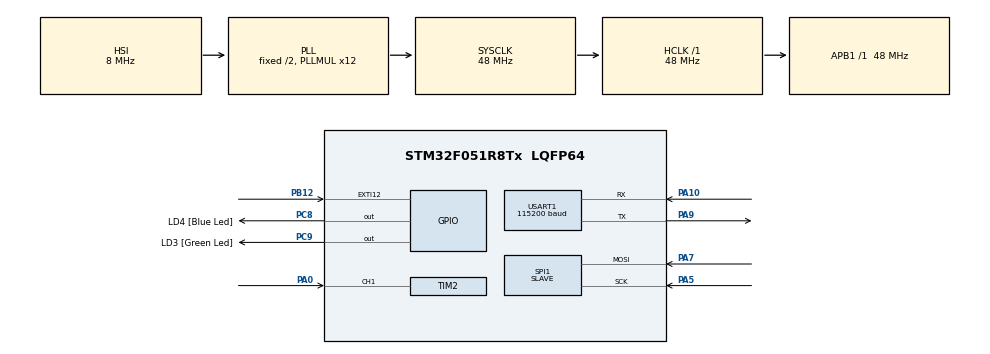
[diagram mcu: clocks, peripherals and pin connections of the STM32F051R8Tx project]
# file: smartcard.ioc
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Dma.Request0=USART1_RX
Dma.Request1=SPI1_RX
Dma.SPI1_RX.1.Direction=DMA_PERIPH_TO_MEMORY
Dma.SPI1_RX.1.Instance=DMA1_Channel2
Dma.SPI1_RX.1.MemDataAlignment=DMA_MDATAALIGN_BYTE
Dma.SPI1_RX.1.MemInc=DMA_MINC_ENABLE
Dma.SPI1_RX.1.Mode=DMA_CIRCULAR
Dma.SPI1_RX.1.PeriphDataAlignment=DMA_PDATAALIGN_BYTE
Dma.SPI1_RX.1.PeriphInc=DMA_PINC_DISABLE
Dma.SPI1_RX.1.Priority=DMA_PRIORITY_LOW
Dma.USART1_RX.0.Direction=DMA_PERIPH_TO_MEMORY
Dma.USART1_RX.0.Instance=DMA1_Channel3
Dma.USART1_RX.0.MemDataAlignment=DMA_MDATAALIGN_BYTE
Dma.USART1_RX.0.MemInc=DMA_MINC_ENABLE
Dma.USART1_RX.0.Mode=DMA_CIRCULAR
Dma.USART1_RX.0.PeriphDataAlignment=DMA_PDATAALIGN_BYTE
Dma.USART1_RX.0.PeriphInc=DMA_PINC_DISABLE
Dma.USART1_RX.0.Priority=DMA_PRIORITY_LOW
Mcu.Family=STM32F0
Mcu.Name=STM32F051R8Tx
Mcu.Package=LQFP64
NVIC.DMA1_Channel2_3_IRQn=true\:0\:0\:false\:false\:true\:false
NVIC.EXTI4_15_IRQn=true\:0\:0\:false\:false\:true\:true
NVIC.TIM2_IRQn=true\:0\:0\:false\:false\:true\:true
PA0.Signal=S_TIM2_CH1_ETR
PA10.Mode=Asynchronous
PA10.Signal=USART1_RX
PA13.GPIO_Label=SWDIO
PA13.Mode=Serial_Wire
PA13.Signal=SYS_SWDIO
PA14.GPIO_Label=SWCLK
PA14.Mode=Serial_Wire
PA14.Signal=SYS_SWCLK
PA5.GPIO_PuPd=GPIO_PULLUP
PA5.Mode=RX_Only_Simplex_Unidirect_Slave
PA5.Signal=SPI1_SCK
PA7.GPIO_PuPd=GPIO_PULLUP
PA7.Mode=RX_Only_Simplex_Unidirect_Slave
PA7.Signal=SPI1_MOSI
PA9.Mode=Asynchronous
PA9.Signal=USART1_TX
PB12.Signal=GPXTI12
PC8.GPIO_Label=LD4 [Blue Led]
PC8.Signal=GPIO_Output
PC9.GPIO_Label=LD3 [Green Led]
PC9.Signal=GPIO_Output
ProjectManager.HeapSize=0x200
ProjectManager.StackSize=0x400
ProjectManager.TargetToolchain=SW4STM32
RCC.AHBFreq_Value=48000000
RCC.APB1Freq_Value=48000000
RCC.APB1TimFreq_Value=48000000
RCC.HCLKFreq_Value=48000000
RCC.PLLMUL=RCC_PLL_MUL12
RCC.SYSCLKFreq_VALUE=48000000
RCC.SYSCLKSource=RCC_SYSCLKSOURCE_PLLCLK
SH.S_TIM2_CH1_ETR.0=TIM2_CH1,TriggerSource_TI1FP1
SPI1.CLKPolarity=SPI_POLARITY_HIGH
SPI1.DataSize=SPI_DATASIZE_8BIT
SPI1.Direction=SPI_DIRECTION_2LINES_RXONLY
SPI1.FirstBit=SPI_FIRSTBIT_MSB
SPI1.Mode=SPI_MODE_SLAVE
SPI1.VirtualType=VM_SLAVE
TIM2.AutoReloadPreload=TIM_AUTORELOAD_PRELOAD_ENABLE
TIM2.Period=4800
USART1.BaudRate=115200
USART1.Mode=MODE_RX
USART1.VirtualMode-Asynchronous=VM_ASYNC
USART1.WordLength=WORDLENGTH_9B
VP_TIM2_VS_ControllerModeClock.Mode=Clock Mode
board=STM32F0DISCOVERY

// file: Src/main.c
/**
  ******************************************************************************
  * @file           : main.c
  * @brief          : Main program body
  ******************************************************************************
  ** This notice applies to any and all portions of this file
  * that are not between comment pairs USER CODE BEGIN and
  * USER CODE END. Other portions of this file, whether
  * inserted by the user or by software development tools
  * are owned by their respective copyright owners.
  *
  * COPYRIGHT(c) 2018 STMicroelectronics
  *
  * Redistribution and use in source and binary forms, with or without modification,
  * are permitted provided that the following conditions are met:
  *   1. Redistributions of source code must retain the above copyright notice,
  *      this list of conditions and the following disclaimer.
  *   2. Redistributions in binary form must reproduce the above copyright notice,
  *      this list of conditions and the following disclaimer in the documentation
  *      and/or other materials provided with the distribution.
  *   3. Neither the name of STMicroelectronics nor the names of its contributors
  *      may be used to endorse or promote products derived from this software
  *      without specific prior written permission.
  *
  * THIS SOFTWARE IS PROVIDED BY THE COPYRIGHT HOLDERS AND CONTRIBUTORS "AS IS"
  * AND ANY EXPRESS OR IMPLIED WARRANTIES, INCLUDING, BUT NOT LIMITED TO, THE
  * IMPLIED WARRANTIES OF MERCHANTABILITY AND FITNESS FOR A PARTICULAR PURPOSE ARE
  * DISCLAIMED. IN NO EVENT SHALL THE COPYRIGHT HOLDER OR CONTRIBUTORS BE LIABLE
  * FOR ANY DIRECT, INDIRECT, INCIDENTAL, SPECIAL, EXEMPLARY, OR CONSEQUENTIAL
  * DAMAGES (INCLUDING, BUT NOT LIMITED TO, PROCUREMENT OF SUBSTITUTE GOODS OR
  * SERVICES; LOSS OF USE, DATA, OR PROFITS; OR BUSINESS INTERRUPTION) HOWEVER
  * CAUSED AND ON ANY THEORY OF LIABILITY, WHETHER IN CONTRACT, STRICT LIABILITY,
  * OR TORT (INCLUDING NEGLIGENCE OR OTHERWISE) ARISING IN ANY WAY OUT OF THE USE
  * OF THIS SOFTWARE, EVEN IF ADVISED OF THE POSSIBILITY OF SUCH DAMAGE.
  *
  ******************************************************************************
  */
#include "main.h"
#include "stm32f0xx_hal.h"

SPI_HandleTypeDef hspi1;
DMA_HandleTypeDef hdma_spi1_rx;

TIM_HandleTypeDef htim2;

UART_HandleTypeDef huart1;
DMA_HandleTypeDef hdma_usart1_rx;

/* USER CODE BEGIN PV */

extern uint8_t datatest[2];
extern uint8_t dataout[50];
uint32_t input_capture;
uint32_t count;
/* Private variables ---------------------------------------------------------*/
int __io_putchar(int ch)
{
	uint8_t c[1];
 	 c[0] = ch & 0x00FF;
 	 HAL_UART_Transmit(&huart1, &*c, 1, 10);
 	 return ch;
}

int _write(int file,char *ptr, int len)
{
 int DataIdx;
 for(DataIdx= 0; DataIdx< len; DataIdx++)
 {
 __io_putchar(*ptr++);
 }
return len;
}

void HAL_SPI_RxCpltCallback(SPI_HandleTypeDef *hspi)
{
}

/* USER CODE END PV */

void SystemClock_Config(void);
static void MX_GPIO_Init(void);
static void MX_DMA_Init(void);
static void MX_TIM2_Init(void);
static void MX_USART1_UART_Init(void);
static void MX_SPI1_Init(void);

/* USER CODE BEGIN PFP */
/* Private function prototypes -----------------------------------------------*/

/* USER CODE END PFP */

/* USER CODE BEGIN 0 */
void HAL_TIM_PeriodElapsedCallback(TIM_HandleTypeDef *htim)
{
	if (htim->Instance==TIM2)
	{
//		input_capture = __HAL_TIM_GET_COMPARE(&htim2, TIM_CHANNEL_2);
//		__HAL_TIM_SET_COUNTER(&htim2, 0);
		HAL_GPIO_TogglePin(GPIOC,GPIO_PIN_9);
	}
}
/* USER CODE END 0 */

int main(void)
{
  /* USER CODE BEGIN 1 */
	uint16_t i,j;
  /* USER CODE END 1 */

  /* MCU Configuration----------------------------------------------------------*/

  /* Reset of all peripherals, Initializes the Flash interface and the Systick. */
  HAL_Init();

  /* Configure the system clock */
  SystemClock_Config();

  /* Initialize all configured peripherals */
  MX_GPIO_Init();
  MX_DMA_Init();
  MX_TIM2_Init();
  MX_USART1_UART_Init();
  MX_SPI1_Init();
  /* USER CODE BEGIN 2 */
//  HAL_TIM_Base_Start_IT(&htim2);
//  HAL_UART_Receive_DMA(&huart1,datatest,16);
//  HAL_USART_Transmit_DMA(&husart1,datatest,255);
//  HAL_SPI_Receive_DMA(&hspi1,datatest,1);
//  	HAL_TIM_IC_Start_IT(&htim2,TIM_CHANNEL_2);
//  	HAL_TIM_IC_Start_IT(&htim2,TIM_CHANNEL_2);
//  HAL_SPI_Receive_IT(&hspi1,datatest,255);
//  HAL_TIM_Base_Start(&htim2);
  HAL_TIM_Base_Start_IT(&htim2);
  /* USER CODE END 2 */

  /* Infinite loop */
  /* USER CODE BEGIN WHILE */
  j=0;
  i=0;
  while (1)
  {
  /* USER CODE END WHILE */

  /* USER CODE BEGIN 3 */
	  count = __HAL_TIM_GET_COUNTER(&htim2);
//	  printf("Hello\r\n");
//	  HAL_GPIO_TogglePin(GPIOC,GPIO_PIN_9);
//	  HAL_Delay(100);
  }
  /* USER CODE END 3 */

}

void SystemClock_Config(void)
{

  RCC_OscInitTypeDef RCC_OscInitStruct;
  RCC_ClkInitTypeDef RCC_ClkInitStruct;
  RCC_PeriphCLKInitTypeDef PeriphClkInit;

    /**Initializes the CPU, AHB and APB busses clocks
    */
  RCC_OscInitStruct.OscillatorType = RCC_OSCILLATORTYPE_HSI;
  RCC_OscInitStruct.HSIState = RCC_HSI_ON;
  RCC_OscInitStruct.HSICalibrationValue = 16;
  RCC_OscInitStruct.PLL.PLLState = RCC_PLL_ON;
  RCC_OscInitStruct.PLL.PLLSource = RCC_PLLSOURCE_HSI;
  RCC_OscInitStruct.PLL.PLLMUL = RCC_PLL_MUL12;
  RCC_OscInitStruct.PLL.PREDIV = RCC_PREDIV_DIV1;
  if (HAL_RCC_OscConfig(&RCC_OscInitStruct) != HAL_OK)
  {
    _Error_Handler(__FILE__, __LINE__);
  }

    /**Initializes the CPU, AHB and APB busses clocks
    */
  RCC_ClkInitStruct.ClockType = RCC_CLOCKTYPE_HCLK|RCC_CLOCKTYPE_SYSCLK
                              |RCC_CLOCKTYPE_PCLK1;
  RCC_ClkInitStruct.SYSCLKSource = RCC_SYSCLKSOURCE_PLLCLK;
  RCC_ClkInitStruct.AHBCLKDivider = RCC_SYSCLK_DIV1;
  RCC_ClkInitStruct.APB1CLKDivider = RCC_HCLK_DIV1;

  if (HAL_RCC_ClockConfig(&RCC_ClkInitStruct, FLASH_LATENCY_1) != HAL_OK)
  {
    _Error_Handler(__FILE__, __LINE__);
  }

  PeriphClkInit.PeriphClockSelection = RCC_PERIPHCLK_USART1;
  PeriphClkInit.Usart1ClockSelection = RCC_USART1CLKSOURCE_PCLK1;
  if (HAL_RCCEx_PeriphCLKConfig(&PeriphClkInit) != HAL_OK)
  {
    _Error_Handler(__FILE__, __LINE__);
  }

    /**Configure the Systick interrupt time
    */
  HAL_SYSTICK_Config(HAL_RCC_GetHCLKFreq()/1000);

    /**Configure the Systick
    */
  HAL_SYSTICK_CLKSourceConfig(SYSTICK_CLKSOURCE_HCLK);

  /* SysTick_IRQn interrupt configuration */
  HAL_NVIC_SetPriority(SysTick_IRQn, 0, 0);
}

/* SPI1 init function */
static void MX_SPI1_Init(void)
{

  /* SPI1 parameter configuration*/
  hspi1.Instance = SPI1;
  hspi1.Init.Mode = SPI_MODE_SLAVE;
  hspi1.Init.Direction = SPI_DIRECTION_2LINES_RXONLY;
  hspi1.Init.DataSize = SPI_DATASIZE_8BIT;
  hspi1.Init.CLKPolarity = SPI_POLARITY_HIGH;
  hspi1.Init.CLKPhase = SPI_PHASE_1EDGE;
  hspi1.Init.NSS = SPI_NSS_SOFT;
  hspi1.Init.FirstBit = SPI_FIRSTBIT_MSB;
  hspi1.Init.TIMode = SPI_TIMODE_DISABLE;
  hspi1.Init.CRCCalculation = SPI_CRCCALCULATION_DISABLE;
  hspi1.Init.CRCPolynomial = 7;
  hspi1.Init.CRCLength = SPI_CRC_LENGTH_DATASIZE;
  hspi1.Init.NSSPMode = SPI_NSS_PULSE_DISABLE;
  if (HAL_SPI_Init(&hspi1) != HAL_OK)
  {
    _Error_Handler(__FILE__, __LINE__);
  }

}

/* TIM2 init function */
static void MX_TIM2_Init(void)
{

  TIM_SlaveConfigTypeDef sSlaveConfig;
  TIM_MasterConfigTypeDef sMasterConfig;

  htim2.Instance = TIM2;
  htim2.Init.Prescaler = 0;
  htim2.Init.CounterMode = TIM_COUNTERMODE_UP;
  htim2.Init.Period = 4800;
  htim2.Init.ClockDivision = TIM_CLOCKDIVISION_DIV1;
  htim2.Init.AutoReloadPreload = TIM_AUTORELOAD_PRELOAD_ENABLE;
  if (HAL_TIM_Base_Init(&htim2) != HAL_OK)
  {
    _Error_Handler(__FILE__, __LINE__);
  }

  sSlaveConfig.SlaveMode = TIM_SLAVEMODE_EXTERNAL1;
  sSlaveConfig.InputTrigger = TIM_TS_TI1FP1;
  sSlaveConfig.TriggerPolarity = TIM_TRIGGERPOLARITY_RISING;
  sSlaveConfig.TriggerFilter = 0;
  if (HAL_TIM_SlaveConfigSynchronization(&htim2, &sSlaveConfig) != HAL_OK)
  {
    _Error_Handler(__FILE__, __LINE__);
  }

  sMasterConfig.MasterOutputTrigger = TIM_TRGO_RESET;
  sMasterConfig.MasterSlaveMode = TIM_MASTERSLAVEMODE_DISABLE;
  if (HAL_TIMEx_MasterConfigSynchronization(&htim2, &sMasterConfig) != HAL_OK)
  {
    _Error_Handler(__FILE__, __LINE__);
  }

}

/* USART1 init function */
static void MX_USART1_UART_Init(void)
{

  huart1.Instance = USART1;
  huart1.Init.BaudRate = 115200;
  huart1.Init.WordLength = UART_WORDLENGTH_9B;
  huart1.Init.StopBits = UART_STOPBITS_1;
  huart1.Init.Parity = UART_PARITY_NONE;
  huart1.Init.Mode = UART_MODE_RX;
  huart1.Init.HwFlowCtl = UART_HWCONTROL_NONE;
  huart1.Init.OverSampling = UART_OVERSAMPLING_16;
  huart1.Init.OneBitSampling = UART_ONE_BIT_SAMPLE_DISABLE;
  huart1.AdvancedInit.AdvFeatureInit = UART_ADVFEATURE_NO_INIT;
  if (HAL_UART_Init(&huart1) != HAL_OK)
  {
    _Error_Handler(__FILE__, __LINE__);
  }

}

static void MX_DMA_Init(void)
{
  /* DMA controller clock enable */
  __HAL_RCC_DMA1_CLK_ENABLE();

  /* DMA interrupt init */
  /* DMA1_Channel2_3_IRQn interrupt configuration */
  HAL_NVIC_SetPriority(DMA1_Channel2_3_IRQn, 0, 0);
  HAL_NVIC_EnableIRQ(DMA1_Channel2_3_IRQn);

}

/** Configure pins as
        * Analog
        * Input
        * Output
        * EVENT_OUT
        * EXTI
*/
static void MX_GPIO_Init(void)
{

  GPIO_InitTypeDef GPIO_InitStruct;

  /* GPIO Ports Clock Enable */
  __HAL_RCC_GPIOA_CLK_ENABLE();
  __HAL_RCC_GPIOB_CLK_ENABLE();
  __HAL_RCC_GPIOC_CLK_ENABLE();

  /*Configure GPIO pin Output Level */
  HAL_GPIO_WritePin(GPIOC, LD4_Pin|LD3_Pin, GPIO_PIN_RESET);

  /*Configure GPIO pin : PB12 */
  GPIO_InitStruct.Pin = GPIO_PIN_12;
  GPIO_InitStruct.Mode = GPIO_MODE_IT_RISING;
  GPIO_InitStruct.Pull = GPIO_NOPULL;
  HAL_GPIO_Init(GPIOB, &GPIO_InitStruct);

  /*Configure GPIO pins : LD4_Pin LD3_Pin */
  GPIO_InitStruct.Pin = LD4_Pin|LD3_Pin;
  GPIO_InitStruct.Mode = GPIO_MODE_OUTPUT_PP;
  GPIO_InitStruct.Pull = GPIO_NOPULL;
  GPIO_InitStruct.Speed = GPIO_SPEED_FREQ_LOW;
  HAL_GPIO_Init(GPIOC, &GPIO_InitStruct);

  /* EXTI interrupt init*/
  HAL_NVIC_SetPriority(EXTI4_15_IRQn, 0, 0);
  HAL_NVIC_EnableIRQ(EXTI4_15_IRQn);

}

void _Error_Handler(char *file, int line)
{
  while(1)
  {
  }
}

/************************ (C) COPYRIGHT STMicroelectronics *****END OF FILE****/
